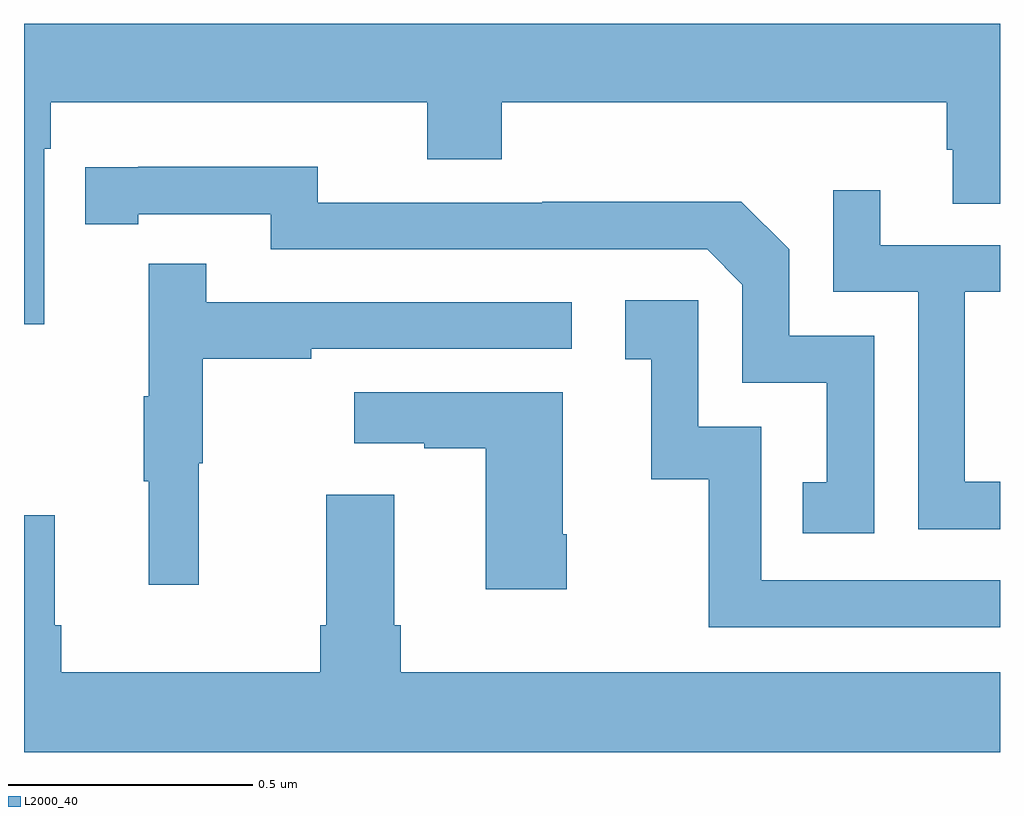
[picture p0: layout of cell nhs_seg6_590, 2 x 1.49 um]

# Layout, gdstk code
import gdstk
lib = gdstk.Library(unit=1e-6, precision=1e-09)
def P(c, l, *ps):  # polygons
    for p in ps: c.add(gdstk.Polygon(p, *l))
L2000_40 = (2000, 40)

nhs_seg6_590 = lib.new_cell('nhs_seg6_590')
P(nhs_seg6_590, L2000_40, [(118.041,943.244),(118.055,943.244),(118.055,943.34),(118.826,943.34),(118.826,943.223),(118.979,943.223),(118.979,943.34),(119.891,943.34),(119.891,943.242),(119.903,943.242),(119.903,943.132),(120,943.132),(120,943.5),(118,943.5),(118,942.885),(118.041,942.885)],
  [(119.742,942.861),(119.568,942.861),(119.568,943.038),(119.47,943.136),(119.062,943.136),(119.062,943.134),(118.602,943.134),(118.602,943.207),(118.234,943.207),(118.234,943.206),(118.126,943.206),(118.126,943.09),(118.234,943.09),(118.234,943.11),(118.506,943.11),(118.506,943.038),(119.4,943.038),(119.472,942.966),(119.472,942.765),(119.645,942.765),(119.645,942.561),(119.596,942.561),(119.596,942.456),(119.742,942.456)],
  [(120,942.562),(119.928,942.562),(119.928,942.951),(120,942.951),(120,943.047),(119.755,943.047),(119.755,943.159),(119.658,943.159),(119.658,942.951),(119.832,942.951),(119.832,942.465),(120,942.465)],
  [(118.358,942.6),(118.366,942.6),(118.366,942.814),(118.589,942.814),(118.589,942.834),(119.122,942.834),(119.122,942.93),(118.373,942.93),(118.373,943.009),(118.256,943.009),(118.256,942.737),(118.245,942.737),(118.245,942.563),(118.256,942.563),(118.256,942.351),(118.358,942.351)],
  [(120,942.36),(119.511,942.36),(119.511,942.675),(119.382,942.675),(119.382,942.934),(119.232,942.934),(119.232,942.813),(119.285,942.813),(119.285,942.567),(119.403,942.567),(119.403,942.264),(120,942.264)],
  [(119.112,942.454),(119.104,942.454),(119.104,942.745),(118.677,942.745),(118.677,942.641),(118.82,942.641),(118.82,942.631),(118.946,942.631),(118.946,942.342),(119.112,942.342)],
  [(120,942.172),(118.772,942.172),(118.772,942.268),(118.759,942.268),(118.759,942.535),(118.619,942.535),(118.619,942.268),(118.607,942.268),(118.607,942.172),(118.076,942.172),(118.076,942.268),(118.063,942.268),(118.063,942.493),(118,942.493),(118,942.008),(120,942.008)])

lib.write_gds('nhs_seg6_590.gds')
